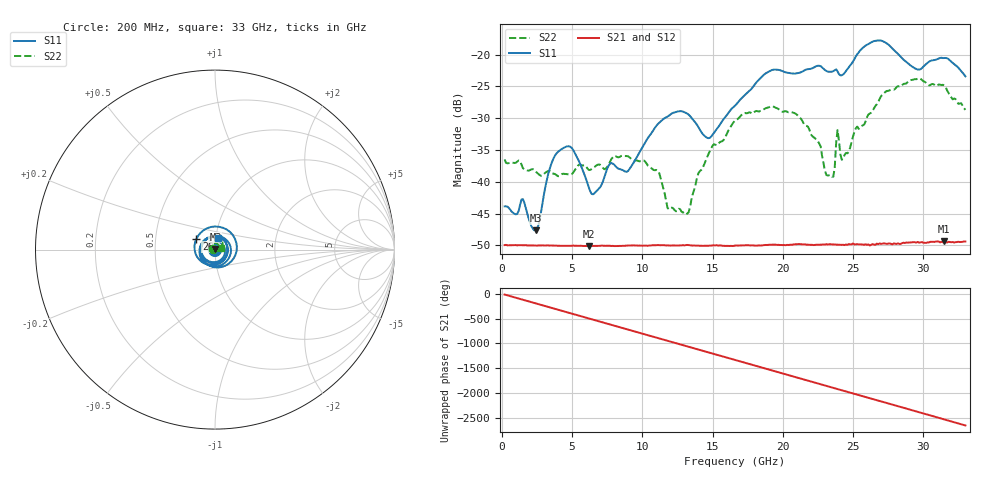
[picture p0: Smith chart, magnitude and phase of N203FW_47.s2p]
# GHZ S RI R 50
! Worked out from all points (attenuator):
!   329 points, 200 MHz to 33 GHz, reference 50 ohm
!   highest |S21| = -49.38 dB at 31.5 GHz (marker M1); lowest = -50.1 dB at 6.2 GHz (marker M2)
!   lowest |S11| = -47.6 dB at 2.4 GHz (marker M3), VSWR 1.01, Z = 50.3 + j0.321 ohm
!   |S11| at or under -10 dB: start of sweep to end of sweep
!   |S22| runs from -45.0 to -23.7 dB; largest |S21 - S12| = 8.8e-05
!   S11 on the Smith chart (normalised r, x): 200 MHz: 1.01, +0.00; 26 GHz: 0.81, +0.10; 33 GHz: 1.03, +0.13
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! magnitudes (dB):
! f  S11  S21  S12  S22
! 200 MHz  -43.9  -50.0  -49.9  -36.5
! 1.5 GHz  -42.7  -50.0  -50.0  -37.8
! 2.4 GHz  -47.6  -50.0  -50.0  -38.3
! 3.9 GHz  -35.5  -50.0  -50.1  -39.0
! 5.7 GHz  -37.8  -50.1  -50.1  -37.4
! 6.2 GHz  -40.9  -50.1  -50.1  -38.2
! 9 GHz  -38.3  -50.0  -50.0  -36.0
! 11.2 GHz  -30.7  -50.0  -50.0  -38.6
! 11.8 GHz  -29.7  -50.0  -50.0  -44.1
! 13.2 GHz  -29.3  -49.9  -49.9  -45.0
! 14.7 GHz  -33.1  -50.1  -50.0  -35.7
! 16.6 GHz  -28.0  -50.0  -50.0  -30.4
! 19.3 GHz  -22.4  -49.9  -49.9  -28.1
! 22.1 GHz  -22.1  -49.9  -49.9  -32.8
! 23.6 GHz  -22.6  -49.9  -49.9  -39.2
! 23.9 GHz  -22.6  -49.9  -49.9  -31.9
! 24.2 GHz  -23.2  -49.9  -49.9  -36.5
! 26 GHz  -18.4  -49.9  -49.9  -29.8
! 27.6 GHz  -18.6  -49.7  -49.7  -25.6
! 29.6 GHz  -22.3  -49.5  -49.5  -23.8
! 31.5 GHz  -20.5  -49.4  -49.3  -24.8
! 33 GHz  -23.4  -49.4  -49.4  -28.7
